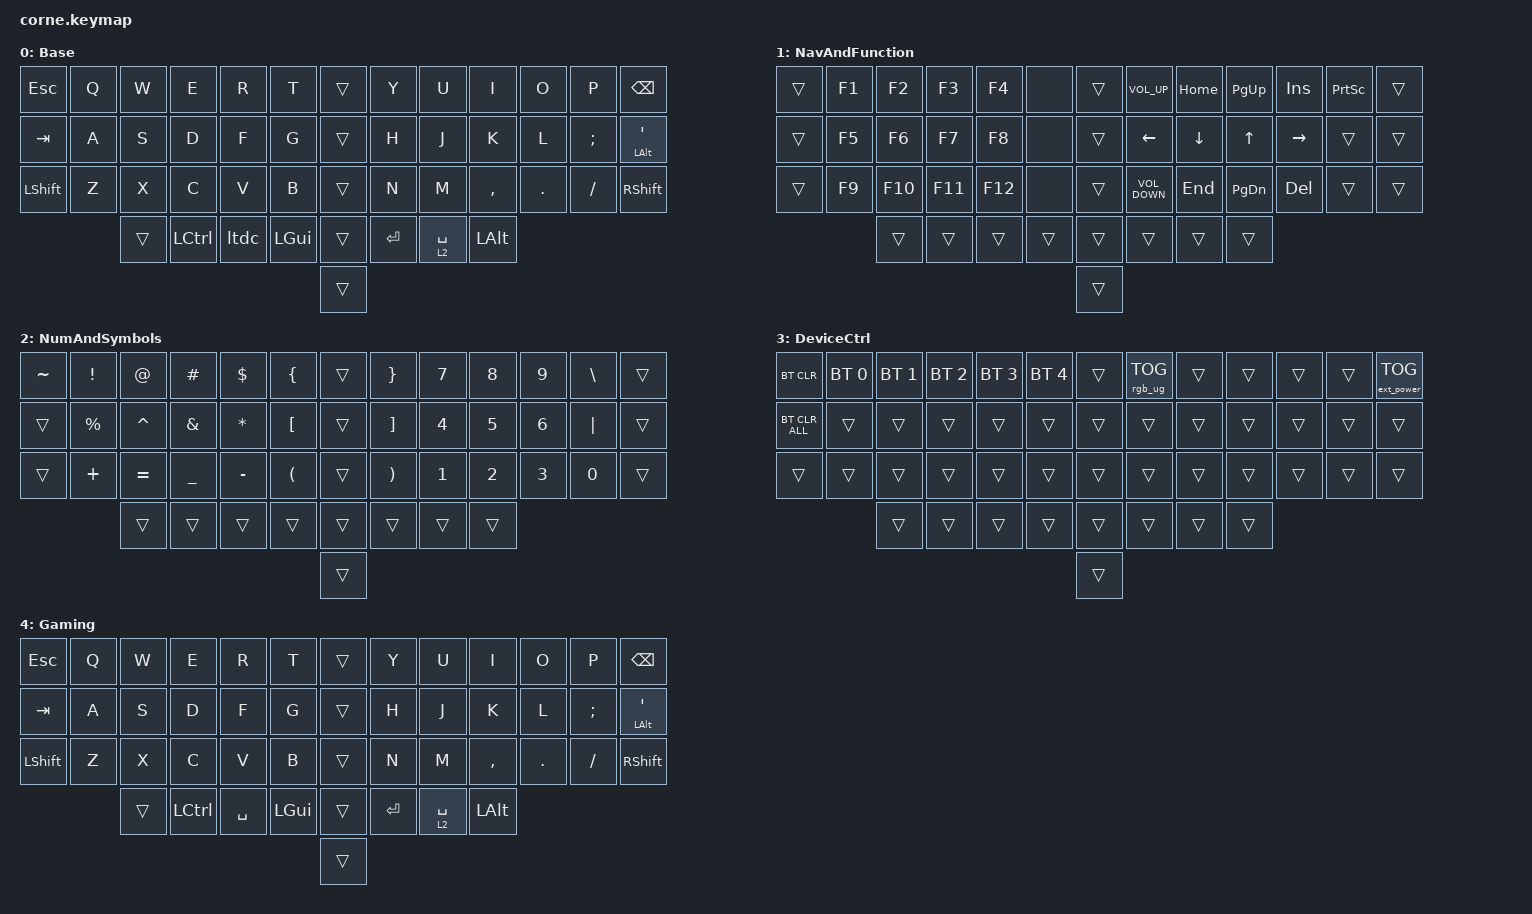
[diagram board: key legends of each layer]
#define ZMK_POINTING_DEFAULT_MOVE_VAL 1500  // 600
#define ZMK_POINTING_DEFAULT_SCRL_VAL 100   // 10

#include <input/processors.dtsi>
#include <zephyr/dt-bindings/input/input-event-codes.h>
#include <behaviors.dtsi>
#include <dt-bindings/zmk/bt.h>
#include <dt-bindings/zmk/ext_power.h>
#include <dt-bindings/zmk/keys.h>
#include <dt-bindings/zmk/rgb.h>

&mmv_input_listener { input-processors = <&zip_xy_scaler 2 1>; };

&msc_input_listener { input-processors = <&zip_scroll_scaler 3 1>; };

&lt { tapping-term-ms = <350>; };

&mt { tapping-term-ms = <350>; };

/ {
    behaviors {
        tlt: tlt {
            compatible = "zmk,behavior-hold-tap";
            label = "TabPreferedLT";
            bindings = <&mo>, <&kp>;

            #binding-cells = <2>;
            tapping-term-ms = <350>;
            quick-tap-ms = <160>;
            retro-tap;
        };

        ltdc: ltdc {
            compatible = "zmk,behavior-tap-dance";
            label = "LTDC";
            #binding-cells = <0>;
            bindings = <&mo 2>, <&tog 3>;

            tapping-term-ms = <250>;
        };
    };

    combos { compatible = "zmk,combos"; };

    keymap {
        compatible = "zmk,keymap";

        Base {
            bindings = <
&kp ESCAPE  &kp Q  &kp W   &kp E      &kp R  &kp T           &trans  &kp Y       &kp U         &kp I         &kp O       &kp P          &kp BACKSPACE
&kp TAB     &kp A  &kp S   &kp D      &kp F  &kp G           &trans  &kp H       &kp J         &kp K         &kp L       &kp SEMICOLON  &mt LEFT_ALT SQT
&kp LSHFT   &kp Z  &kp X   &kp C      &kp V  &kp B           &trans  &kp N       &kp M         &kp COMMA     &kp PERIOD  &kp SLASH      &kp RSHIFT
                   &trans  &kp LCTRL  &ltdc  &kp LEFT_GUI    &trans  &kp RETURN  &tlt 2 SPACE  &kp LEFT_ALT
                                                             &trans
            >;
        };

        NavAndFunction {
            bindings = <
&trans  &kp F1  &kp F2   &kp F3   &kp F4   &none     &trans  &kp C_VOLUME_UP    &kp HOME  &kp PAGE_UP    &kp INSERT  &kp PRINTSCREEN  &trans
&trans  &kp F5  &kp F6   &kp F7   &kp F8   &none     &trans  &kp LEFT           &kp DOWN  &kp UP         &kp RIGHT   &trans           &trans
&trans  &kp F9  &kp F10  &kp F11  &kp F12  &none     &trans  &kp C_VOLUME_DOWN  &kp END   &kp PAGE_DOWN  &kp DELETE  &trans           &trans
                &trans   &trans   &trans   &trans    &trans  &trans             &trans    &trans
                                                     &trans
            >;
        };

        NumAndSymbols {
            bindings = <
&kp TILDE  &kp EXCLAMATION  &kp AT_SIGN  &kp HASH        &kp DOLLAR    &kp LEFT_BRACE          &trans  &kp RIGHT_BRACE        &kp NUMBER_7  &kp NUMBER_8  &kp NUMBER_9  &kp BACKSLASH  &trans
&trans     &kp PERCENT      &kp CARET    &kp AMPERSAND   &kp ASTERISK  &kp LEFT_BRACKET        &trans  &kp RIGHT_BRACKET      &kp NUMBER_4  &kp NUMBER_5  &kp NUMBER_6  &kp PIPE       &trans
&trans     &kp PLUS         &kp EQUAL    &kp UNDERSCORE  &kp MINUS     &kp LEFT_PARENTHESIS    &trans  &kp RIGHT_PARENTHESIS  &kp NUMBER_1  &kp NUMBER_2  &kp NUMBER_3  &kp NUMBER_0   &trans
                            &trans       &trans          &trans        &trans                  &trans  &trans                 &trans        &trans
                                                                                               &trans
            >;
        };

        DeviceCtrl {
            bindings = <
&bt BT_CLR      &bt BT_SEL 0  &bt BT_SEL 1  &bt BT_SEL 2  &bt BT_SEL 3  &bt BT_SEL 4    &trans  &rgb_ug RGB_TOG  &trans  &trans  &trans  &trans  &ext_power EP_TOG
&bt BT_CLR_ALL  &trans        &trans        &trans        &trans        &trans          &trans  &trans           &trans  &trans  &trans  &trans  &trans
&trans          &trans        &trans        &trans        &trans        &trans          &trans  &trans           &trans  &trans  &trans  &trans  &trans
                              &trans        &trans        &trans        &trans          &trans  &trans           &trans  &trans
                                                                                        &trans
            >;
        };

        Gaming {
            bindings = <
&kp ESCAPE  &kp Q  &kp W   &kp E      &kp R      &kp T           &trans  &kp Y       &kp U         &kp I         &kp O       &kp P          &kp BACKSPACE
&kp TAB     &kp A  &kp S   &kp D      &kp F      &kp G           &trans  &kp H       &kp J         &kp K         &kp L       &kp SEMICOLON  &mt LEFT_ALT SQT
&kp LSHFT   &kp Z  &kp X   &kp C      &kp V      &kp B           &trans  &kp N       &kp M         &kp COMMA     &kp PERIOD  &kp SLASH      &kp RSHIFT
                   &trans  &kp LCTRL  &kp SPACE  &kp LEFT_GUI    &trans  &kp RETURN  &tlt 2 SPACE  &kp LEFT_ALT
                                                                 &trans
            >;
        };
    };

    conditional_layers { compatible = "zmk,conditional-layers"; };
};
